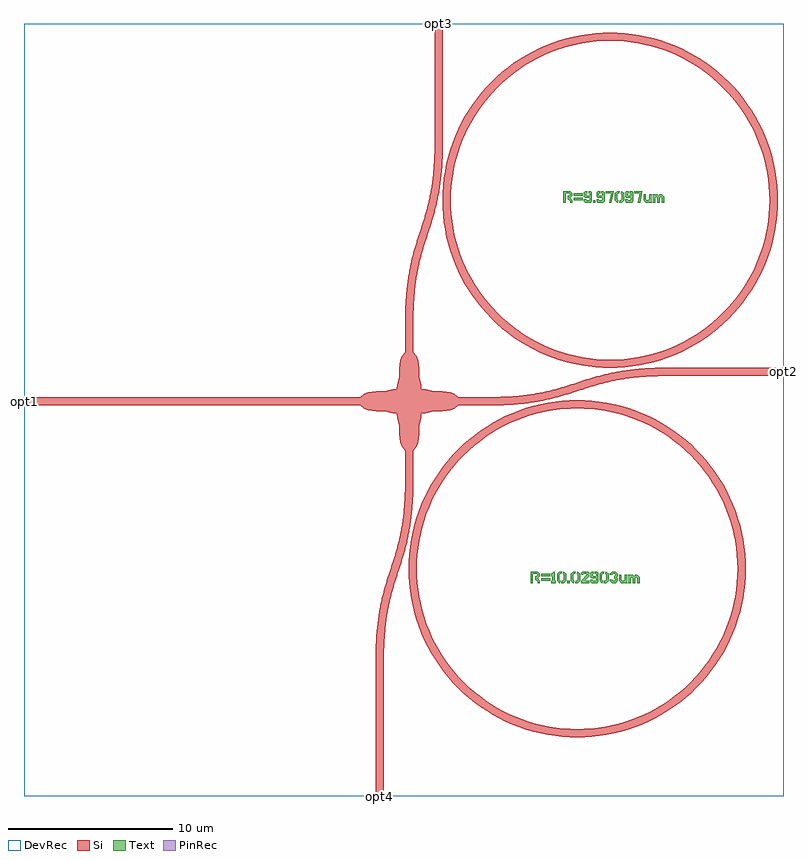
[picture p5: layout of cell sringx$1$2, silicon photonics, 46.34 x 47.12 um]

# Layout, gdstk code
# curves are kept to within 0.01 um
import gdstk
lib = gdstk.Library(unit=1e-6, precision=1e-09)
def R(c, l, rs):  # rectangles x0, y0, x1, y1
    for r in rs: c.add(gdstk.rectangle(r[:2], r[2:], *l))
def P(c, l, *ps):  # polygons
    for p in ps: c.add(gdstk.Polygon(p, *l))
Si = (1, 0)
PinRec = (1, 10)
Text = (10, 0)
DevRec = (68, 0)

sringx_1_2 = lib.new_cell('sringx$1$2')
R(sringx_1_2, Si, [(21.43,0,21.93,8.29), (0,23.83,18.68,24.33), (39.28,25.63,46.32,26.13), (25.03,39.88,25.53,47.1)])
P(sringx_1_2, Si, [(23.23,19.28),(23.23,21.08),(23.02,21.33),(22.93,21.58),(22.89,21.83),(22.86,22.58),(22.76,23.08),(22.73,23.34),(22.48,23.36),(21.98,23.46),(21.23,23.49),(20.98,23.53),(20.73,23.62),(20.48,23.83),(18.68,23.83),(18.68,24.33),(20.48,24.33),(20.73,24.54),(20.98,24.63),(21.23,24.67),(21.98,24.7),(22.48,24.8),(22.73,24.82),(22.76,25.08),(22.86,25.58),(22.89,26.33),(22.93,26.58),(23.02,26.83),(23.23,27.08),(23.23,28.88),(23.73,28.88),(23.73,27.08),(23.94,26.83),(24.03,26.58),(24.07,26.33),(24.1,25.58),(24.2,25.08),(24.22,24.83),(24.48,24.8),(24.98,24.7),(25.73,24.67),(25.98,24.63),(26.23,24.54),(26.48,24.33),(28.28,24.33),(28.28,23.83),(26.48,23.83),(26.23,23.62),(25.98,23.53),(25.73,23.49),(24.98,23.46),(24.48,23.36),(24.22,23.33),(24.2,23.08),(24.1,22.58),(24.07,21.83),(24.03,21.58),(23.94,21.33),(23.73,21.08),(23.73,19.28)],
  [(28.28,23.83),(28.28,24.33),(29.22,24.349),(30.051,24.403),(30.787,24.487),(31.549,24.617),(32.136,24.749),(32.68,24.896),(34.298,25.41),(35.017,25.622),(35.703,25.79),(36.467,25.933),(37.201,26.029),(37.879,26.087),(38.626,26.121),(39.28,26.13),(39.28,25.63),(38.34,25.611),(37.509,25.557),(36.773,25.473),(36.011,25.343),(35.424,25.211),(34.88,25.064),(33.262,24.55),(32.543,24.338),(31.857,24.17),(31.093,24.027),(30.359,23.931),(29.681,23.873),(28.934,23.839)],
  [(21.43,8.28),(21.439,8.934),(21.473,9.681),(21.531,10.359),(21.627,11.093),(21.77,11.857),(21.938,12.543),(22.15,13.262),(22.664,14.88),(22.811,15.424),(22.943,16.011),(23.073,16.773),(23.157,17.509),(23.211,18.34),(23.23,19.28),(23.73,19.28),(23.721,18.626),(23.687,17.879),(23.629,17.201),(23.533,16.467),(23.39,15.703),(23.222,15.017),(23.01,14.298),(22.496,12.68),(22.349,12.136),(22.217,11.549),(22.087,10.787),(22.003,10.051),(21.949,9.22),(21.93,8.28)],
  [(23.23,28.88),(23.239,29.534),(23.273,30.281),(23.331,30.959),(23.427,31.693),(23.57,32.457),(23.738,33.143),(23.95,33.862),(24.464,35.48),(24.611,36.024),(24.743,36.611),(24.873,37.373),(24.957,38.109),(25.011,38.94),(25.03,39.88),(25.53,39.88),(25.521,39.226),(25.487,38.479),(25.429,37.801),(25.333,37.067),(25.19,36.303),(25.022,35.617),(24.81,34.898),(24.296,33.28),(24.149,32.736),(24.017,32.149),(23.887,31.387),(23.803,30.651),(23.749,29.82),(23.73,28.88)],
  [(35.73,26.119),(34.839,26.158),(34.396,26.206),(33.955,26.274),(33.518,26.361),(32.656,26.592),(32.234,26.735),(31.819,26.897),(31.01,27.274),(30.62,27.488),(29.867,27.967),(29.16,28.51),(28.503,29.113),(27.9,29.77),(27.357,30.477),(26.878,31.23),(26.664,31.62),(26.287,32.429),(26.125,32.844),(25.982,33.266),(25.857,33.695),(25.664,34.565),(25.596,35.006),(25.548,35.449),(25.509,36.34),(25.548,37.231),(25.596,37.674),(25.664,38.115),(25.751,38.552),(25.982,39.414),(26.125,39.836),(26.287,40.251),(26.664,41.06),(26.878,41.45),(27.357,42.203),(27.9,42.91),(28.503,43.567),(29.16,44.17),(29.867,44.713),(30.62,45.192),(31.01,45.406),(31.819,45.783),(32.234,45.945),(32.656,46.088),(33.085,46.213),(33.955,46.406),(34.396,46.474),(34.839,46.522),(35.73,46.561),(36.621,46.522),(37.064,46.474),(37.505,46.406),(37.942,46.319),(38.804,46.088),(39.226,45.945),(39.641,45.783),(40.45,45.406),(40.84,45.192),(41.593,44.713),(42.3,44.17),(42.957,43.567),(43.56,42.91),(44.103,42.203),(44.582,41.45),(44.796,41.06),(45.173,40.251),(45.335,39.836),(45.478,39.414),(45.603,38.985),(45.796,38.115),(45.864,37.674),(45.912,37.231),(45.951,36.34),(45.451,36.34),(45.442,36.764),(45.368,37.609),(45.221,38.444),(45.001,39.263),(44.711,40.06),(44.353,40.829),(43.929,41.563),(43.693,41.916),(43.177,42.589),(42.897,42.907),(42.604,43.214),(41.979,43.787),(41.306,44.303),(40.953,44.539),(40.219,44.963),(39.45,45.321),(38.653,45.611),(37.834,45.831),(36.999,45.978),(36.577,46.024),(36.154,46.052),(35.306,46.052),(34.461,45.978),(33.626,45.831),(33.214,45.73),(32.405,45.475),(32.01,45.321),(31.241,44.963),(30.507,44.539),(30.154,44.303),(29.481,43.787),(28.856,43.214),(28.283,42.589),(28.018,42.258),(27.531,41.563),(27.311,41.2),(27.107,40.829),(26.749,40.06),(26.595,39.665),(26.34,38.856),(26.239,38.444),(26.092,37.609),(26.018,36.764),(26.018,35.916),(26.046,35.493),(26.092,35.071),(26.239,34.236),(26.34,33.824),(26.595,33.015),(26.749,32.62),(27.107,31.851),(27.531,31.117),(27.767,30.764),(28.283,30.091),(28.856,29.466),(29.163,29.173),(29.481,28.893),(30.154,28.377),(30.507,28.141),(31.241,27.717),(32.01,27.359),(32.405,27.205),(33.214,26.95),(33.626,26.849),(34.461,26.702),(35.306,26.628),(36.154,26.628),(36.577,26.656),(36.999,26.702),(37.834,26.849),(38.246,26.95),(39.055,27.205),(39.45,27.359),(40.219,27.717),(40.953,28.141),(41.306,28.377),(41.979,28.893),(42.604,29.466),(43.177,30.091),(43.693,30.764),(43.929,31.117),(44.353,31.851),(44.711,32.62),(44.865,33.015),(45.12,33.824),(45.221,34.236),(45.368,35.071),(45.442,35.916),(45.451,36.34),(45.951,36.34),(45.912,35.449),(45.864,35.006),(45.796,34.565),(45.709,34.128),(45.478,33.266),(45.335,32.844),(45.173,32.429),(44.796,31.62),(44.582,31.23),(44.103,30.477),(43.56,29.77),(42.957,29.113),(42.3,28.51),(41.593,27.967),(40.84,27.488),(40.45,27.274),(39.641,26.897),(39.226,26.735),(38.804,26.592),(38.375,26.467),(37.505,26.274),(37.064,26.206),(36.621,26.158)],
  [(33.72,3.591),(32.824,3.63),(31.935,3.747),(31.06,3.941),(30.204,4.211),(29.786,4.373),(28.974,4.752),(28.58,4.968),(27.824,5.45),(27.113,5.996),(26.452,6.602),(25.846,7.263),(25.3,7.974),(24.818,8.73),(24.602,9.124),(24.223,9.936),(24.061,10.354),(23.791,11.21),(23.597,12.085),(23.48,12.974),(23.441,13.87),(23.48,14.766),(23.597,15.655),(23.791,16.53),(24.061,17.386),(24.223,17.804),(24.602,18.616),(24.818,19.01),(25.3,19.766),(25.846,20.477),(26.452,21.138),(27.113,21.744),(27.824,22.29),(28.58,22.772),(28.974,22.988),(29.786,23.367),(30.204,23.529),(31.06,23.799),(31.935,23.993),(32.824,24.11),(33.72,24.149),(34.616,24.11),(35.505,23.993),(36.38,23.799),(37.236,23.529),(37.654,23.367),(38.466,22.988),(38.86,22.772),(39.616,22.29),(40.327,21.744),(40.988,21.138),(41.594,20.477),(42.14,19.766),(42.622,19.01),(42.838,18.616),(43.217,17.804),(43.379,17.386),(43.649,16.53),(43.843,15.655),(43.96,14.766),(43.999,13.87),(43.499,13.87),(43.462,14.722),(43.35,15.568),(43.166,16.401),(43.046,16.811),(42.755,17.612),(42.583,18.003),(42.189,18.76),(41.731,19.479),(41.211,20.156),(40.93,20.477),(40.327,21.08),(40.006,21.361),(39.329,21.881),(38.61,22.339),(37.853,22.733),(37.462,22.905),(37.065,23.059),(36.251,23.316),(35.418,23.5),(34.572,23.612),(34.147,23.64),(33.293,23.64),(32.444,23.565),(31.603,23.417),(30.779,23.196),(29.978,22.905),(29.587,22.733),(28.83,22.339),(28.111,21.881),(27.767,21.628),(27.113,21.08),(26.805,20.785),(26.51,20.477),(25.962,19.823),(25.709,19.479),(25.251,18.76),(24.857,18.003),(24.685,17.612),(24.531,17.215),(24.274,16.401),(24.173,15.987),(24.025,15.146),(23.95,14.297),(23.95,13.443),(23.978,13.018),(24.09,12.172),(24.173,11.753),(24.274,11.339),(24.531,10.525),(24.857,9.737),(25.251,8.98),(25.472,8.616),(25.709,8.261),(26.229,7.584),(26.51,7.263),(27.113,6.66),(27.434,6.379),(28.111,5.859),(28.83,5.401),(29.587,5.007),(29.978,4.835),(30.375,4.681),(31.189,4.424),(31.603,4.323),(32.444,4.175),(33.293,4.1),(34.147,4.1),(34.572,4.128),(35.418,4.24),(35.837,4.323),(36.251,4.424),(37.065,4.681),(37.853,5.007),(38.61,5.401),(38.974,5.622),(39.329,5.859),(40.006,6.379),(40.635,6.955),(41.211,7.584),(41.731,8.261),(41.968,8.616),(42.189,8.98),(42.583,9.737),(42.909,10.525),(43.166,11.339),(43.267,11.753),(43.415,12.594),(43.49,13.443),(43.499,13.87),(43.999,13.87),(43.96,12.974),(43.843,12.085),(43.649,11.21),(43.379,10.354),(43.217,9.936),(42.838,9.124),(42.622,8.73),(42.14,7.974),(41.594,7.263),(40.988,6.602),(40.327,5.996),(39.616,5.45),(38.86,4.968),(38.466,4.752),(37.654,4.373),(37.236,4.211),(36.38,3.941),(35.505,3.747),(34.616,3.63)])
R(sringx_1_2, Text, [(33.124,13.001,33.264,13.141), (31.514,13.141,32.074,13.281), (31.514,13.421,32.074,13.561), (34.691,36.201,34.831,36.341), (33.501,36.341,34.061,36.481), (33.501,36.621,34.061,36.761)])
P(sringx_1_2, Text, [(32.753,13.001),(32.788,13.141),(32.844,13.141),(32.914,13.211),(32.914,13.491),(32.844,13.561),(32.879,13.701),(32.914,13.701),(33.054,13.561),(33.054,13.141),(32.914,13.001)],
  [(33.593,13.001),(33.628,13.141),(33.684,13.141),(33.754,13.211),(33.754,13.491),(33.684,13.561),(33.719,13.701),(33.754,13.701),(33.894,13.561),(33.894,13.141),(33.754,13.001)],
  [(35.343,13.001),(35.378,13.141),(35.434,13.141),(35.504,13.211),(35.504,13.491),(35.434,13.561),(35.469,13.701),(35.504,13.701),(35.644,13.561),(35.644,13.141),(35.504,13.001)],
  [(36.28,36.201),(36.315,36.341),(36.371,36.341),(36.441,36.411),(36.441,36.691),(36.371,36.761),(36.406,36.901),(36.441,36.901),(36.581,36.761),(36.581,36.341),(36.441,36.201)],
  [(35.671,36.201),(35.783,36.761),(35.461,36.761),(35.461,36.901),(35.951,36.901),(35.811,36.201)],
  [(37.421,36.201),(37.533,36.761),(37.211,36.761),(37.211,36.901),(37.701,36.901),(37.561,36.201)],
  [(33.964,13.001),(33.964,13.141),(34.314,13.491),(34.314,13.561),(34.104,13.561),(34.104,13.491),(33.964,13.491),(33.964,13.631),(34.034,13.701),(34.384,13.701),(34.454,13.631),(34.454,13.421),(34.174,13.141),(34.454,13.141),(34.454,13.001)],
  [(35.854,13.001),(35.714,13.141),(35.714,13.211),(35.854,13.211),(35.924,13.141),(35.994,13.141),(36.064,13.211),(35.994,13.281),(35.994,13.421),(36.064,13.491),(35.994,13.561),(35.924,13.561),(35.854,13.491),(35.714,13.491),(35.714,13.561),(35.854,13.701),(36.064,13.701),(36.204,13.561),(36.204,13.421),(36.134,13.351),(36.204,13.281),(36.204,13.141),(36.064,13.001)],
  [(30.884,13.001),(30.884,13.701),(31.304,13.701),(31.444,13.561),(31.444,13.421),(31.304,13.281),(31.444,13.141),(31.444,13.001),(31.304,13.001),(31.304,13.071),(31.164,13.211),(31.164,13.421),(31.234,13.421),(31.304,13.491),(31.234,13.561),(31.024,13.561),(31.024,13.001)],
  [(32.871,36.201),(32.871,36.901),(33.291,36.901),(33.431,36.761),(33.431,36.621),(33.291,36.481),(33.431,36.341),(33.431,36.201),(33.291,36.201),(33.291,36.271),(33.151,36.411),(33.151,36.621),(33.221,36.621),(33.291,36.691),(33.221,36.761),(33.011,36.761),(33.011,36.201)],
  [(36.834,13.001),(36.834,13.491),(36.974,13.491),(36.974,13.421),(37.044,13.491),(37.114,13.491),(37.184,13.421),(37.254,13.491),(37.394,13.491),(37.534,13.351),(37.534,13.001),(37.394,13.001),(37.394,13.281),(37.324,13.351),(37.254,13.281),(37.254,13.001),(37.114,13.001),(37.114,13.281),(37.044,13.351),(36.974,13.281),(36.974,13.001)],
  [(38.331,36.201),(38.331,36.691),(38.471,36.691),(38.471,36.621),(38.541,36.691),(38.611,36.691),(38.681,36.621),(38.751,36.691),(38.891,36.691),(39.031,36.551),(39.031,36.201),(38.891,36.201),(38.891,36.481),(38.821,36.551),(38.751,36.481),(38.751,36.201),(38.611,36.201),(38.611,36.481),(38.541,36.551),(38.471,36.481),(38.471,36.201)],
  [(32.634,13.001),(32.494,13.141),(32.494,13.561),(32.634,13.701),(32.795,13.701),(32.76,13.561),(32.704,13.561),(32.634,13.491),(32.634,13.211),(32.704,13.141),(32.669,13.001)],
  [(33.474,13.001),(33.334,13.141),(33.334,13.561),(33.474,13.701),(33.635,13.701),(33.6,13.561),(33.544,13.561),(33.474,13.491),(33.474,13.211),(33.544,13.141),(33.509,13.001)],
  [(35.224,13.001),(35.084,13.141),(35.084,13.561),(35.224,13.701),(35.385,13.701),(35.35,13.561),(35.294,13.561),(35.224,13.491),(35.224,13.211),(35.294,13.141),(35.259,13.001)],
  [(36.161,36.201),(36.021,36.341),(36.021,36.761),(36.161,36.901),(36.322,36.901),(36.287,36.761),(36.231,36.761),(36.161,36.691),(36.161,36.411),(36.231,36.341),(36.196,36.201)],
  [(36.414,13.001),(36.274,13.141),(36.274,13.491),(36.414,13.491),(36.414,13.211),(36.484,13.141),(36.554,13.141),(36.624,13.211),(36.624,13.491),(36.764,13.491),(36.764,13.001),(36.624,13.001),(36.624,13.071),(36.554,13.001)],
  [(37.911,36.201),(37.771,36.341),(37.771,36.691),(37.911,36.691),(37.911,36.411),(37.981,36.341),(38.051,36.341),(38.121,36.411),(38.121,36.691),(38.261,36.691),(38.261,36.201),(38.121,36.201),(38.121,36.271),(38.051,36.201)],
  [(32.144,13.001),(32.144,13.141),(32.214,13.141),(32.214,13.421),(32.144,13.421),(32.144,13.561),(32.284,13.701),(32.354,13.701),(32.354,13.141),(32.424,13.141),(32.424,13.001)],
  [(34.594,13.001),(34.524,13.071),(34.524,13.211),(34.664,13.211),(34.664,13.141),(34.874,13.141),(34.874,13.281),(34.594,13.281),(34.524,13.351),(34.524,13.631),(34.594,13.701),(34.734,13.701),(34.734,13.561),(34.664,13.561),(34.664,13.421),(34.874,13.421),(34.874,13.561),(34.804,13.561),(34.804,13.701),(34.944,13.701),(35.014,13.631),(35.014,13.071),(34.944,13.001)],
  [(34.201,36.201),(34.131,36.271),(34.131,36.411),(34.271,36.411),(34.271,36.341),(34.481,36.341),(34.481,36.481),(34.201,36.481),(34.131,36.551),(34.131,36.831),(34.201,36.901),(34.341,36.901),(34.341,36.761),(34.271,36.761),(34.271,36.621),(34.481,36.621),(34.481,36.761),(34.411,36.761),(34.411,36.901),(34.551,36.901),(34.621,36.831),(34.621,36.271),(34.551,36.201)],
  [(34.971,36.201),(34.901,36.271),(34.901,36.411),(35.041,36.411),(35.041,36.341),(35.251,36.341),(35.251,36.481),(34.971,36.481),(34.901,36.551),(34.901,36.831),(34.971,36.901),(35.111,36.901),(35.111,36.761),(35.041,36.761),(35.041,36.621),(35.251,36.621),(35.251,36.761),(35.181,36.761),(35.181,36.901),(35.321,36.901),(35.391,36.831),(35.391,36.271),(35.321,36.201)],
  [(36.721,36.201),(36.651,36.271),(36.651,36.411),(36.791,36.411),(36.791,36.341),(37.001,36.341),(37.001,36.481),(36.721,36.481),(36.651,36.551),(36.651,36.831),(36.721,36.901),(36.861,36.901),(36.861,36.761),(36.791,36.761),(36.791,36.621),(37.001,36.621),(37.001,36.761),(36.931,36.761),(36.931,36.901),(37.071,36.901),(37.141,36.831),(37.141,36.271),(37.071,36.201)])
R(sringx_1_2, DevRec, [(0,0,46.32,47.1)])
sringx_1_2.add(gdstk.FlexPath([(0.01,24.08),(-0.01,24.08)], 0.5, ends="flush", simple_path=True, layer=1, datatype=10))  # PinRec
sringx_1_2.add(gdstk.FlexPath([(46.31,25.88),(46.33,25.88)], 0.5, ends="flush", simple_path=True, layer=1, datatype=10))  # PinRec
sringx_1_2.add(gdstk.FlexPath([(25.28,47.09),(25.28,47.11)], 0.5, ends="flush", simple_path=True, layer=1, datatype=10))  # PinRec
sringx_1_2.add(gdstk.FlexPath([(21.68,0.01),(21.68,-0.01)], 0.5, ends="flush", simple_path=True, layer=1, datatype=10))  # PinRec
sringx_1_2.add(gdstk.Label('opt2', (46.32,25.88), layer=1, texttype=10))
sringx_1_2.add(gdstk.Label('opt1', (0,24.08), layer=1, texttype=10))
sringx_1_2.add(gdstk.Label('opt3', (25.28,47.1), layer=1, texttype=10))
sringx_1_2.add(gdstk.Label('opt4', (21.68,0), layer=1, texttype=10))

lib.write_gds('sringx_1_2.gds')
